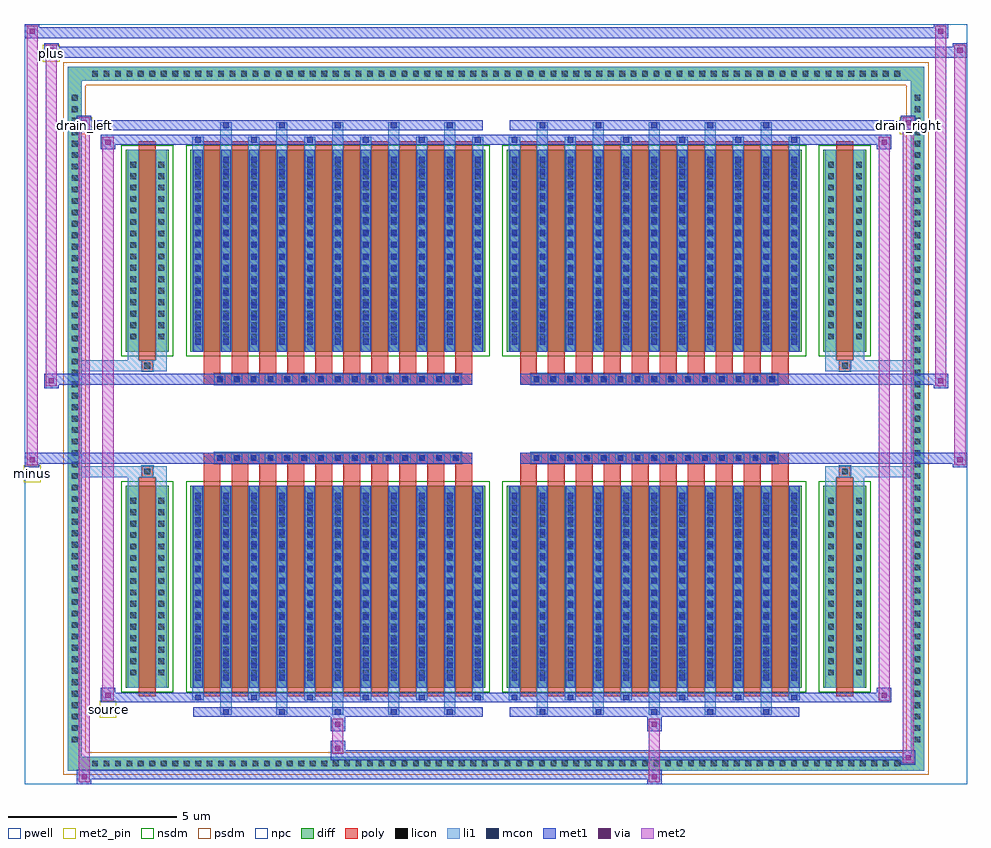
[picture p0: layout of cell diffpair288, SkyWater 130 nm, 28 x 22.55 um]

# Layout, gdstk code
import gdstk
lib = gdstk.Library(unit=1e-6, precision=5e-09)
def R(c, l, rs):  # rectangles x0, y0, x1, y1
    for r in rs: c.add(gdstk.rectangle(r[:2], r[2:], *l))
def A(c, l, x, y, w, h, nx, ny, dx, dy):  # array of equal rectangles
    R(c, l, [(x+i*dx, y+j*dy, x+i*dx+w, y+j*dy+h) for i in range(nx) for j in range(ny)])
def P(c, l, *ps):  # polygons
    for p in ps: c.add(gdstk.Polygon(p, *l))
pwell = (64, 44)
diff = (65, 20)
poly = (66, 20)
licon = (66, 44)
li1 = (67, 20)
mcon = (67, 44)
met1 = (68, 20)
via = (68, 44)
met2_pin = (69, 16)
met2 = (69, 20)
nsdm = (93, 44)
psdm = (94, 20)
npc = (95, 20)

diffpair288 = lib.new_cell('diffpair288')
R(diffpair288, pwell, [(-13.98,-10.84,13.98,11.71), (-11.3,-9.03,-0.01,-0.805), (0.01,-9.03,11.3,-0.805), (-11.3,0.805,-0.01,9.03), (0.01,0.805,11.3,9.03)])
A(diffpair288, diff, -12.105, -10.44, 0.41, 0.41, 71, 2, 0.34, 20.47)
A(diffpair288, diff, -12.71, -9.725, 0.41, 0.41, 1, 57, 0, 0.34)
A(diffpair288, diff, 12.3, -9.725, 0.41, 0.41, 1, 57, 0, 0.34)
R(diffpair288, diff, [(-12.105,-10.44,12.105,-10.03), (-12.71,-9.725,-12.3,9.725), (12.3,-9.725,12.71,9.725), (-10.99,-7.985,-9.71,-1.985), (-9.07,-7.985,-0.32,-1.985), (0.32,-7.985,9.07,-1.985), (9.71,-7.985,10.99,-1.985), (-10.99,1.985,-9.71,7.985), (-9.07,1.985,-0.32,7.985), (0.32,1.985,9.07,7.985), (9.71,1.985,10.99,7.985), (-12.105,10.03,12.105,10.44)])
P(diffpair288, diff, [(12.71,10.44),(-12.71,10.44),(-12.71,-10.03),(-12.3,-10.03),(-12.3,10.03),(12.3,10.03),(12.3,-10.03),(-12.3,-10.03),(-12.71,-10.03),(-12.71,-10.44),(12.71,-10.44)])
A(diffpair288, poly, -8.68, -8.235, 0.5, 6.5, 10, 2, 0.83, 9.97)
A(diffpair288, poly, 0.71, -8.235, 0.5, 6.5, 10, 2, 0.83, 9.97)
A(diffpair288, poly, -8.68, -1.735, 0.5, 0.4, 10, 2, 0.83, 3.07)
A(diffpair288, poly, 0.71, -1.735, 0.5, 0.4, 10, 2, 0.83, 3.07)
A(diffpair288, poly, -8.36, -1.335, 0.33, 0.33, 15, 2, 0.5, 2.34)
A(diffpair288, poly, 1.03, -1.335, 0.33, 0.33, 15, 2, 0.5, 2.34)
R(diffpair288, poly, [(-10.6,-8.235,-10.1,-1.735), (10.1,-8.235,10.6,-1.735), (-10.515,-1.735,-10.185,-1.405), (-10.515,-1.735,-10.185,-1.405), (10.185,-1.735,10.515,-1.405), (10.185,-1.735,10.515,-1.405), (-8.68,-1.335,-0.71,-1.005), (0.71,-1.335,8.68,-1.005), (-8.68,1.005,-0.71,1.335), (0.71,1.005,8.68,1.335), (-10.515,1.405,-10.185,1.735), (-10.515,1.405,-10.185,1.735), (10.185,1.405,10.515,1.735), (10.185,1.405,10.515,1.735), (-10.6,1.735,-10.1,8.235), (10.1,1.735,10.6,8.235)])
A(diffpair288, licon, -11.985, -10.32, 0.17, 0.17, 71, 2, 0.34, 20.47)
A(diffpair288, licon, -12.59, -9.605, 0.17, 0.17, 1, 57, 0, 0.34)
A(diffpair288, licon, 12.42, -9.605, 0.17, 0.17, 1, 57, 0, 0.34)
A(diffpair288, licon, -10.85, -7.62, 0.17, 0.17, 1, 16, 0, 0.34)
A(diffpair288, licon, -10.02, -7.62, 0.17, 0.17, 1, 16, 0, 0.34)
A(diffpair288, licon, -8.93, -7.62, 0.17, 0.17, 11, 16, 0.83, 0.34)
A(diffpair288, licon, 0.46, -7.62, 0.17, 0.17, 11, 16, 0.83, 0.34)
A(diffpair288, licon, 9.85, -7.62, 0.17, 0.17, 1, 16, 0, 0.34)
A(diffpair288, licon, 10.68, -7.62, 0.17, 0.17, 1, 16, 0, 0.34)
A(diffpair288, licon, -8.28, -1.255, 0.17, 0.17, 15, 2, 0.5, 2.34)
A(diffpair288, licon, 1.11, -1.255, 0.17, 0.17, 15, 2, 0.5, 2.34)
A(diffpair288, licon, -10.85, 2.35, 0.17, 0.17, 1, 16, 0, 0.34)
A(diffpair288, licon, -10.02, 2.35, 0.17, 0.17, 1, 16, 0, 0.34)
A(diffpair288, licon, -8.93, 2.35, 0.17, 0.17, 11, 16, 0.83, 0.34)
A(diffpair288, licon, 0.46, 2.35, 0.17, 0.17, 11, 16, 0.83, 0.34)
A(diffpair288, licon, 9.85, 2.35, 0.17, 0.17, 1, 16, 0, 0.34)
A(diffpair288, licon, 10.68, 2.35, 0.17, 0.17, 1, 16, 0, 0.34)
R(diffpair288, licon, [(-10.435,-1.655,-10.265,-1.485), (10.265,-1.655,10.435,-1.485), (-10.435,1.485,-10.265,1.655), (10.265,1.485,10.435,1.655)])
A(diffpair288, li1, -12.065, -10.4, 0.33, 0.33, 71, 2, 0.34, 20.47)
A(diffpair288, li1, -12.67, -9.685, 0.33, 0.33, 1, 57, 0, 0.34)
A(diffpair288, li1, 12.34, -9.685, 0.33, 0.33, 1, 57, 0, 0.34)
A(diffpair288, li1, -8.18, -8.79, 0.33, 0.805, 5, 2, 1.66, 16.775)
A(diffpair288, li1, -8.1, -8.79, 0.17, 0.17, 5, 2, 1.66, 17.41)
A(diffpair288, li1, 1.21, -8.79, 0.33, 0.805, 5, 2, 1.66, 16.775)
A(diffpair288, li1, 1.29, -8.79, 0.17, 0.17, 5, 2, 1.66, 17.41)
A(diffpair288, li1, -9.01, -8.36, 0.33, 0.375, 6, 2, 1.66, 16.345)
A(diffpair288, li1, -8.93, -8.36, 0.17, 0.17, 6, 2, 1.66, 16.55)
A(diffpair288, li1, 0.38, -8.36, 0.33, 0.375, 6, 2, 1.66, 16.345)
A(diffpair288, li1, 0.46, -8.36, 0.17, 0.17, 6, 2, 1.66, 16.55)
A(diffpair288, li1, -9.01, -7.985, 0.33, 6, 11, 2, 0.83, 9.97)
A(diffpair288, li1, 0.38, -7.985, 0.33, 6, 11, 2, 0.83, 9.97)
A(diffpair288, li1, -8.93, -7.77, 0.17, 0.17, 11, 16, 0.83, 0.36)
A(diffpair288, li1, -8.93, -7.77, 0.17, 5.57, 11, 2, 0.83, 9.97)
A(diffpair288, li1, 0.46, -7.77, 0.17, 0.17, 11, 16, 0.83, 0.36)
A(diffpair288, li1, 0.46, -7.77, 0.17, 5.57, 11, 2, 0.83, 9.97)
A(diffpair288, li1, -10.93, -7.7, 0.33, 0.33, 1, 16, 0, 0.34)
A(diffpair288, li1, -10.1, -7.7, 0.33, 0.33, 1, 16, 0, 0.34)
A(diffpair288, li1, -9.01, -7.7, 0.33, 0.33, 11, 16, 0.83, 0.34)
A(diffpair288, li1, 0.38, -7.7, 0.33, 0.33, 11, 16, 0.83, 0.34)
A(diffpair288, li1, 9.77, -7.7, 0.33, 0.33, 1, 16, 0, 0.34)
A(diffpair288, li1, 10.6, -7.7, 0.33, 0.33, 1, 16, 0, 0.34)
A(diffpair288, li1, -8.36, -1.335, 0.33, 0.33, 15, 2, 0.5, 2.34)
A(diffpair288, li1, 1.03, -1.335, 0.33, 0.33, 15, 2, 0.5, 2.34)
A(diffpair288, li1, -8.93, 2.2, 0.17, 0.17, 11, 16, 0.83, 0.36)
A(diffpair288, li1, 0.46, 2.2, 0.17, 0.17, 11, 16, 0.83, 0.36)
A(diffpair288, li1, -10.93, 2.27, 0.33, 0.33, 1, 16, 0, 0.34)
A(diffpair288, li1, -10.1, 2.27, 0.33, 0.33, 1, 16, 0, 0.34)
A(diffpair288, li1, -9.01, 2.27, 0.33, 0.33, 11, 16, 0.83, 0.34)
A(diffpair288, li1, 0.38, 2.27, 0.33, 0.33, 11, 16, 0.83, 0.34)
A(diffpair288, li1, 9.77, 2.27, 0.33, 0.33, 1, 16, 0, 0.34)
A(diffpair288, li1, 10.6, 2.27, 0.33, 0.33, 1, 16, 0, 0.34)
R(diffpair288, li1, [(-12.71,-10.44,-12.3,-10.03), (-12.71,-10.44,-12.3,-10.03), (-12.3,-10.44,12.3,-10.03), (12.3,-10.44,12.71,-10.03), (12.3,-10.44,12.71,-10.03), (-12.71,-10.03,-12.3,10.03), (12.3,-10.03,12.71,10.03), (-10.93,-7.985,-10.6,-1.985), (-10.1,-7.985,-9.77,-1.985), (9.77,-7.985,10.1,-1.985), (10.6,-7.985,10.93,-1.985), (-10.93,-1.985,-10.6,-1.405), (-10.1,-1.985,-9.77,-1.405), (9.77,-1.985,10.1,-1.405), (10.6,-1.985,10.93,-1.405), (-12.71,-1.735,-10.515,-1.405), (-10.93,-1.735,-10.515,-1.405), (-10.515,-1.735,-10.185,-1.405), (-10.185,-1.735,-9.77,-1.405), (9.77,-1.735,10.185,-1.405), (10.185,-1.735,10.515,-1.405), (10.185,-1.735,12.71,-1.405), (10.515,-1.735,10.93,-1.405), (-12.71,1.405,-10.515,1.735), (-10.93,1.405,-10.515,1.735), (-10.93,1.405,-10.6,1.985), (-10.515,1.405,-10.185,1.735), (-10.185,1.405,-9.77,1.735), (-10.1,1.405,-9.77,1.985), (9.77,1.405,10.185,1.735), (9.77,1.405,10.1,1.985), (10.185,1.405,10.515,1.735), (10.185,1.405,12.71,1.735), (10.515,1.405,10.93,1.735), (10.6,1.405,10.93,1.985), (-10.93,1.985,-10.6,7.985), (-10.1,1.985,-9.77,7.985), (9.77,1.985,10.1,7.985), (10.6,1.985,10.93,7.985), (-12.71,10.03,-12.3,10.44), (-12.71,10.03,-12.3,10.44), (-12.3,10.03,12.3,10.44), (12.3,10.03,12.71,10.44), (12.3,10.03,12.71,10.44)])
A(diffpair288, mcon, -8.1, -8.79, 0.17, 0.17, 5, 2, 1.66, 17.41)
A(diffpair288, mcon, 1.29, -8.79, 0.17, 0.17, 5, 2, 1.66, 17.41)
A(diffpair288, mcon, -8.93, -8.36, 0.17, 0.17, 6, 2, 1.66, 16.55)
A(diffpair288, mcon, 0.46, -8.36, 0.17, 0.17, 6, 2, 1.66, 16.55)
A(diffpair288, mcon, -8.93, -7.77, 0.17, 0.17, 11, 16, 0.83, 0.36)
A(diffpair288, mcon, 0.46, -7.77, 0.17, 0.17, 11, 16, 0.83, 0.36)
A(diffpair288, mcon, -8.28, -1.255, 0.17, 0.17, 15, 2, 0.5, 2.34)
A(diffpair288, mcon, 1.11, -1.255, 0.17, 0.17, 15, 2, 0.5, 2.34)
A(diffpair288, mcon, -8.93, 2.2, 0.17, 0.17, 11, 16, 0.83, 0.36)
A(diffpair288, mcon, 0.46, 2.2, 0.17, 0.17, 11, 16, 0.83, 0.36)
A(diffpair288, met1, -8.16, -8.85, 0.29, 0.29, 5, 2, 1.66, 17.41)
A(diffpair288, met1, 1.23, -8.85, 0.29, 0.29, 5, 2, 1.66, 17.41)
A(diffpair288, met1, -8.99, -8.42, 0.29, 0.29, 6, 2, 1.66, 16.55)
A(diffpair288, met1, 0.4, -8.42, 0.29, 0.29, 6, 2, 1.66, 16.55)
A(diffpair288, met1, -8.99, -7.985, 0.29, 6, 11, 2, 0.83, 9.97)
A(diffpair288, met1, 0.4, -7.985, 0.29, 6, 11, 2, 0.83, 9.97)
A(diffpair288, met1, -8.99, -7.83, 0.29, 0.29, 11, 16, 0.83, 0.36)
A(diffpair288, met1, 0.4, -7.83, 0.29, 0.29, 11, 16, 0.83, 0.36)
A(diffpair288, met1, -8.34, -1.315, 0.29, 0.29, 15, 2, 0.5, 2.34)
A(diffpair288, met1, 1.05, -1.315, 0.29, 0.29, 15, 2, 0.5, 2.34)
A(diffpair288, met1, -8.99, 2.14, 0.29, 0.29, 11, 16, 0.83, 0.36)
A(diffpair288, met1, 0.4, 2.14, 0.29, 0.29, 11, 16, 0.83, 0.36)
R(diffpair288, met1, [(-12.44,-10.84,-12.01,-10.41), (4.48,-10.84,4.91,-10.41), (-12.44,-10.7,4.91,-10.41), (12.01,-10.27,12.44,-9.84), (-4.91,-10.13,12.44,-9.84), (-4.91,-9.99,-4.48,-9.56), (-4.91,-9.28,-4.48,-8.85), (4.48,-9.28,4.91,-8.85), (-8.99,-8.85,-0.4,-8.56), (0.4,-8.85,8.99,-8.56), (-11.73,-8.42,-11.3,-7.99), (-11.73,-8.42,-8.99,-8.13), (-8.99,-8.42,-0.4,-8.13), (-0.4,-8.42,0.4,-8.13), (0.4,-8.42,8.99,-8.13), (8.99,-8.42,11.73,-8.13), (11.3,-8.42,11.73,-7.99), (-13.98,-1.435,-13.55,-1.005), (13.55,-1.435,13.98,-1.005), (-13.98,-1.335,-0.71,-1.005), (-8.68,-1.335,-0.71,-1.005), (0.71,-1.335,8.68,-1.005), (0.71,-1.335,13.98,-1.005), (-13.41,0.905,-12.98,1.335), (12.98,0.905,13.41,1.335), (-13.41,1.005,-8.68,1.335), (-8.68,1.005,-0.71,1.335), (0.71,1.005,8.68,1.335), (8.68,1.005,13.41,1.335), (-11.73,7.99,-11.3,8.42), (11.3,7.99,11.73,8.42), (-11.73,8.13,-8.99,8.42), (-8.99,8.13,-0.4,8.42), (-0.4,8.13,0.4,8.42), (0.4,8.13,8.99,8.42), (8.99,8.13,11.73,8.42), (-12.44,8.56,-12.01,8.99), (-12.44,8.56,-8.99,8.85), (-8.99,8.56,-0.4,8.85), (0.4,8.56,8.99,8.85), (8.99,8.56,12.44,8.85), (12.01,8.56,12.44,8.99), (-13.41,10.71,-12.98,11.14), (-13.41,10.71,-11.3,11.04), (-11.3,10.71,11.3,11.04), (11.3,10.71,13.98,11.04), (13.55,10.71,13.98,11.14), (-13.98,11.28,-13.55,11.71), (-13.98,11.28,-11.3,11.61), (-11.3,11.28,11.3,11.61), (11.3,11.28,13.41,11.61), (12.98,11.28,13.41,11.71)])
R(diffpair288, via, [(-12.3,-10.7,-12.15,-10.55), (4.62,-10.7,4.77,-10.55), (12.15,-10.13,12.3,-9.98), (-4.77,-9.85,-4.62,-9.7), (-4.77,-9.14,-4.62,-8.99), (4.62,-9.14,4.77,-8.99), (-11.59,-8.28,-11.44,-8.13), (11.44,-8.28,11.59,-8.13), (-13.84,-1.295,-13.69,-1.145), (13.69,-1.295,13.84,-1.145), (-13.27,1.045,-13.12,1.195), (13.12,1.045,13.27,1.195), (-11.59,8.13,-11.44,8.28), (11.44,8.13,11.59,8.28), (-12.3,8.7,-12.15,8.85), (12.15,8.7,12.3,8.85), (-13.27,10.85,-13.12,11), (13.69,10.85,13.84,11), (-13.84,11.42,-13.69,11.57), (13.12,11.42,13.27,11.57)])
R(diffpair288, met2_pin, [(-11.765,-8.87,-11.265,-8.37), (-14.015,-1.885,-13.515,-1.385), (-12.475,8.44,-11.975,8.94), (11.975,8.44,12.475,8.94), (-13.445,10.59,-12.945,11.09)])
R(diffpair288, met2, [(-12.39,-10.79,-12.06,-10.46), (-12.39,-10.79,-12.06,8.94), (4.53,-10.79,4.86,-10.46), (4.53,-10.46,4.86,-9.23), (12.06,-10.22,12.39,-9.89), (12.06,-10.22,12.39,8.94), (-4.86,-9.94,-4.53,-9.61), (-4.86,-9.61,-4.53,-9.23), (-4.86,-9.23,-4.53,-8.9), (4.53,-9.23,4.86,-8.9), (-11.68,-8.37,-11.35,-8.04), (-11.68,-8.37,-11.35,8.37), (11.35,-8.37,11.68,-8.04), (11.35,-8.37,11.68,8.37), (-13.93,-1.385,-13.6,-1.055), (-13.93,-1.385,-13.6,11.66), (13.6,-1.385,13.93,-1.055), (13.6,-1.385,13.93,11.09), (-13.36,0.955,-13.03,1.285), (-13.36,0.955,-13.03,11.09), (13.03,0.955,13.36,1.285), (13.03,0.955,13.36,11.66), (-11.68,8.04,-11.35,8.37), (11.35,8.04,11.68,8.37), (-12.39,8.61,-12.06,8.94), (12.06,8.61,12.39,8.94), (-13.36,10.76,-13.03,11.09), (13.6,10.76,13.93,11.09), (-13.93,11.33,-13.6,11.66), (13.03,11.33,13.36,11.66)])
P(diffpair288, met2, [(13.93,-1.385),(13.93,-1.385),(13.93,-1.055),(13.93,-1.055)],
  [(13.93,10.76),(13.93,10.76),(13.93,11.09),(13.93,11.09)],
  [(-13.6,-1.385),(-13.6,-1.385),(-13.6,-1.055),(-13.6,-1.055)],
  [(-13.6,11.33),(-13.6,11.33),(-13.6,11.66),(-13.6,11.66)],
  [(13.36,0.955),(13.36,0.955),(13.36,1.285),(13.36,1.285)],
  [(13.36,11.33),(13.36,11.33),(13.36,11.66),(13.36,11.66)],
  [(-13.03,0.955),(-13.03,0.955),(-13.03,1.285),(-13.03,1.285)],
  [(-13.03,10.76),(-13.03,10.76),(-13.03,11.09),(-13.03,11.09)],
  [(-12.06,-10.79),(-12.06,-10.79),(-12.06,-10.46),(-12.06,-10.46)],
  [(-12.06,8.61),(-12.06,8.61),(-12.06,8.94),(-12.06,8.94)],
  [(12.39,-10.22),(12.39,-10.22),(12.39,-9.89),(12.39,-9.89)],
  [(12.39,8.61),(12.39,8.61),(12.39,8.94),(12.39,8.94)],
  [(-11.35,-8.37),(-11.35,-8.37),(-11.35,-8.04),(-11.35,-8.04)],
  [(-11.35,8.04),(-11.35,8.04),(-11.35,8.37),(-11.35,8.37)],
  [(11.68,-8.37),(11.68,-8.37),(11.68,-8.04),(11.68,-8.04)],
  [(11.68,8.04),(11.68,8.04),(11.68,8.37),(11.68,8.37)])
R(diffpair288, nsdm, [(-11.12,-8.115,-9.58,-1.855), (-9.2,-8.115,-0.19,-1.855), (0.19,-8.115,9.2,-1.855), (9.58,-8.115,11.12,-1.855), (-11.12,1.855,-9.58,8.115), (-9.2,1.855,-0.19,8.115), (0.19,1.855,9.2,8.115), (9.58,1.855,11.12,8.115)])
P(diffpair288, psdm, [(12.84,10.57),(-12.84,10.57),(-12.84,-9.9),(-12.17,-9.9),(-12.17,9.9),(12.17,9.9),(12.17,-9.9),(-12.17,-9.9),(-12.84,-9.9),(-12.84,-10.57),(12.84,-10.57)])
A(diffpair288, npc, -8.38, -1.355, 0.37, 0.37, 15, 2, 0.5, 2.34)
A(diffpair288, npc, 1.01, -1.355, 0.37, 0.37, 15, 2, 0.5, 2.34)
R(diffpair288, npc, [(-10.535,-1.755,-10.165,-1.385), (10.165,-1.755,10.535,-1.385), (-8.38,-1.355,-7.51,-0.985), (-8.38,-1.355,-7.51,-0.985), (-7.88,-1.355,-7.01,-0.985), (-7.88,-1.355,-7.01,-0.985), (-7.38,-1.355,-6.51,-0.985), (-7.38,-1.355,-6.51,-0.985), (-6.88,-1.355,-6.01,-0.985), (-6.88,-1.355,-6.01,-0.985), (-6.38,-1.355,-5.51,-0.985), (-6.38,-1.355,-5.51,-0.985), (-5.88,-1.355,-5.01,-0.985), (-5.88,-1.355,-5.01,-0.985), (-5.38,-1.355,-4.51,-0.985), (-5.38,-1.355,-4.51,-0.985), (-4.88,-1.355,-4.01,-0.985), (-4.88,-1.355,-4.01,-0.985), (-4.38,-1.355,-3.51,-0.985), (-4.38,-1.355,-3.51,-0.985), (-3.88,-1.355,-3.01,-0.985), (-3.88,-1.355,-3.01,-0.985), (-3.38,-1.355,-2.51,-0.985), (-3.38,-1.355,-2.51,-0.985), (-2.88,-1.355,-2.01,-0.985), (-2.88,-1.355,-2.01,-0.985), (-2.38,-1.355,-1.51,-0.985), (-2.38,-1.355,-1.51,-0.985), (-1.88,-1.355,-1.01,-0.985), (-1.88,-1.355,-1.01,-0.985), (1.01,-1.355,1.88,-0.985), (1.01,-1.355,1.88,-0.985), (1.51,-1.355,2.38,-0.985), (1.51,-1.355,2.38,-0.985), (2.01,-1.355,2.88,-0.985), (2.01,-1.355,2.88,-0.985), (2.51,-1.355,3.38,-0.985), (2.51,-1.355,3.38,-0.985), (3.01,-1.355,3.88,-0.985), (3.01,-1.355,3.88,-0.985), (3.51,-1.355,4.38,-0.985), (3.51,-1.355,4.38,-0.985), (4.01,-1.355,4.88,-0.985), (4.01,-1.355,4.88,-0.985), (4.51,-1.355,5.38,-0.985), (4.51,-1.355,5.38,-0.985), (5.01,-1.355,5.88,-0.985), (5.01,-1.355,5.88,-0.985), (5.51,-1.355,6.38,-0.985), (5.51,-1.355,6.38,-0.985), (6.01,-1.355,6.88,-0.985), (6.01,-1.355,6.88,-0.985), (6.51,-1.355,7.38,-0.985), (6.51,-1.355,7.38,-0.985), (7.01,-1.355,7.88,-0.985), (7.01,-1.355,7.88,-0.985), (7.51,-1.355,8.38,-0.985), (7.51,-1.355,8.38,-0.985), (-8.38,0.985,-7.51,1.355), (-8.38,0.985,-7.51,1.355), (-7.88,0.985,-7.01,1.355), (-7.88,0.985,-7.01,1.355), (-7.38,0.985,-6.51,1.355), (-7.38,0.985,-6.51,1.355), (-6.88,0.985,-6.01,1.355), (-6.88,0.985,-6.01,1.355), (-6.38,0.985,-5.51,1.355), (-6.38,0.985,-5.51,1.355), (-5.88,0.985,-5.01,1.355), (-5.88,0.985,-5.01,1.355), (-5.38,0.985,-4.51,1.355), (-5.38,0.985,-4.51,1.355), (-4.88,0.985,-4.01,1.355), (-4.88,0.985,-4.01,1.355), (-4.38,0.985,-3.51,1.355), (-4.38,0.985,-3.51,1.355), (-3.88,0.985,-3.01,1.355), (-3.88,0.985,-3.01,1.355), (-3.38,0.985,-2.51,1.355), (-3.38,0.985,-2.51,1.355), (-2.88,0.985,-2.01,1.355), (-2.88,0.985,-2.01,1.355), (-2.38,0.985,-1.51,1.355), (-2.38,0.985,-1.51,1.355), (-1.88,0.985,-1.01,1.355), (-1.88,0.985,-1.01,1.355), (1.01,0.985,1.88,1.355), (1.01,0.985,1.88,1.355), (1.51,0.985,2.38,1.355), (1.51,0.985,2.38,1.355), (2.01,0.985,2.88,1.355), (2.01,0.985,2.88,1.355), (2.51,0.985,3.38,1.355), (2.51,0.985,3.38,1.355), (3.01,0.985,3.88,1.355), (3.01,0.985,3.88,1.355), (3.51,0.985,4.38,1.355), (3.51,0.985,4.38,1.355), (4.01,0.985,4.88,1.355), (4.01,0.985,4.88,1.355), (4.51,0.985,5.38,1.355), (4.51,0.985,5.38,1.355), (5.01,0.985,5.88,1.355), (5.01,0.985,5.88,1.355), (5.51,0.985,6.38,1.355), (5.51,0.985,6.38,1.355), (6.01,0.985,6.88,1.355), (6.01,0.985,6.88,1.355), (6.51,0.985,7.38,1.355), (6.51,0.985,7.38,1.355), (7.01,0.985,7.88,1.355), (7.01,0.985,7.88,1.355), (7.51,0.985,8.38,1.355), (7.51,0.985,8.38,1.355), (-10.535,1.385,-10.165,1.755), (10.165,1.385,10.535,1.755)])
diffpair288.add(gdstk.Label('minus', (-13.765,-1.635), layer=69, texttype=5))
diffpair288.add(gdstk.Label('drain_right', (12.225,8.69), layer=69, texttype=5))
diffpair288.add(gdstk.Label('drain_left', (-12.225,8.69), layer=69, texttype=5))
diffpair288.add(gdstk.Label('source', (-11.515,-8.62), layer=69, texttype=5))
diffpair288.add(gdstk.Label('plus', (-13.195,10.84), layer=69, texttype=5))

lib.write_gds('diffpair288.gds')
